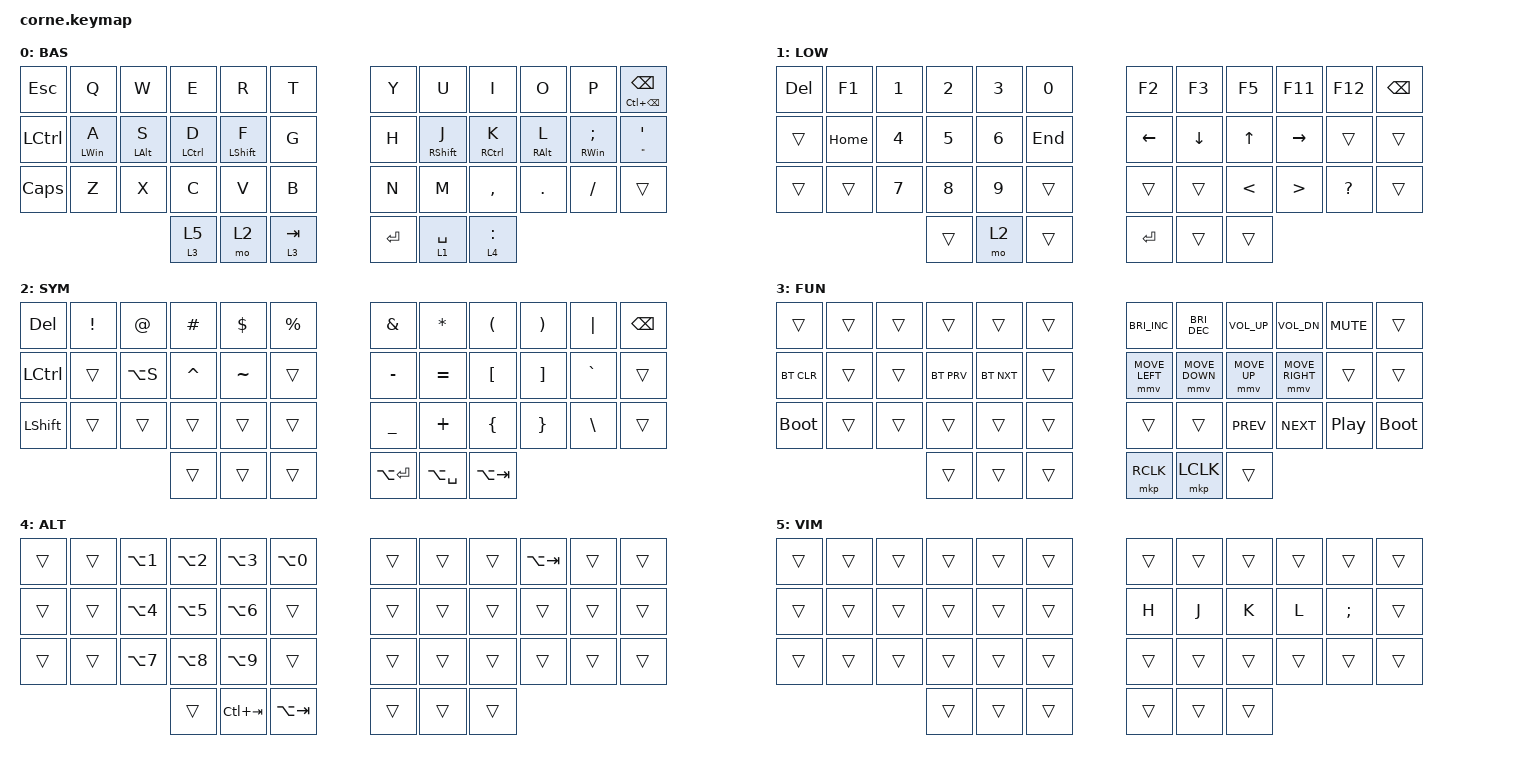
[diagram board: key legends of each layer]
/*
 * Copyright (c) 2020 The ZMK Contributors
 *
 * SPDX-License-Identifier: MIT
 */

#include <dt-bindings/led/led.h>
#include <dt-bindings/zmk/reset.h>
#include <behaviors.dtsi>
#include <dt-bindings/zmk/bt.h>
#include <dt-bindings/zmk/keys.h>
#include <dt-bindings/zmk/pointing.h>

// &led_strip { chain-length = <27>; };

&lt { tapping-term-ms = <150>; };

&mmv {
    trigger-period-ms = <4>;
    time-to-max-speed-ms = <150>;
    acceleration-exponent = <2>;
};

/ {
    behaviors {
        HR_shift_R: HR_shift_R {
            compatible = "zmk,behavior-hold-tap";
            label = "HR_SHIFT_R";
            bindings = <&kp>, <&kp>;

            #binding-cells = <2>;
            tapping-term-ms = <130>;
            hold-trigger-key-positions = <0 1 2 3 4 5 12 13 14 15 16 17 24 25 26 27 28 29 36 37 38>;
            hold-trigger-on-release;
            flavor = "tap-preferred";
        };

        HR_shift_L: HR_shift_L {
            compatible = "zmk,behavior-hold-tap";
            label = "HR_SHIFT_L";
            bindings = <&kp>, <&kp>;

            #binding-cells = <2>;
            tapping-term-ms = <130>;
            hold-trigger-on-release;
            hold-trigger-key-positions = <6 7 8 9 10 11 18 19 20 21 22 23 30 31 32 33 34 35 39 40 41>;
            flavor = "tap-preferred";
        };

        HR_Mod_L: HR_Mod_L {
            compatible = "zmk,behavior-hold-tap";
            label = "HR_MOD_L";
            bindings = <&kp>, <&kp>;

            #binding-cells = <2>;
            flavor = "tap-preferred";
            tapping-term-ms = <230>;
            hold-while-undecided;
            hold-trigger-on-release;
            hold-trigger-key-positions = <6 7 8 9 10 11 18 19 20 21 22 23 30 31 32 33 34 35 39 40 41>;
        };

        HR_Mod_R: HR_Mod_R {
            compatible = "zmk,behavior-hold-tap";
            label = "HR_MOD_R";
            bindings = <&kp>, <&kp>;

            #binding-cells = <2>;
            flavor = "tap-preferred";
            tapping-term-ms = <230>;
            hold-while-undecided;
            hold-trigger-on-release;
            hold-trigger-key-positions = <0 1 2 3 4 5 12 13 14 15 16 17 24 25 26 27 28 29 36 37 38>;
        };

        long_press: long_press {
            compatible = "zmk,behavior-hold-tap";
            label = "LONG_PRESS";
            bindings = <&kp>, <&kp>;

            #binding-cells = <2>;
            tapping-term-ms = <190>;
        };

        long_scroll: long_scroll {
            compatible = "zmk,behavior-hold-tap";
            label = "LONG_SCROLL";
            bindings = <&mmv>, <&msc>;

            #binding-cells = <2>;
            tapping-term-ms = <180>;
        };

        late_tap: late_tap {
            compatible = "zmk,behavior-hold-tap";
            label = "LATE_TAP";
            bindings = <&mo>, <&kp>;

            #binding-cells = <2>;
            flavor = "tap-preferred";
            tapping-term-ms = <220>;
        };

        quick_tap: quick_tap {
            compatible = "zmk,behavior-hold-tap";
            label = "QUICK_TAP";
            bindings = <&mo>, <&kp>;

            #binding-cells = <2>;
            flavor = "balanced";
            tapping-term-ms = <180>;
            hold-trigger-key-positions = <2 3 4 5 14 15 16 26 27 28>;
        };

        mo_toggle: mo_toggle {
            compatible = "zmk,behavior-hold-tap";
            label = "MO_TOGGLE";
            bindings = <&mo>, <&to>;

            #binding-cells = <2>;
            tapping-term-ms = <180>;
        };
    };

    keymap {
        compatible = "zmk,keymap";

        base_layer {
            display-name = "BAS";

            // -----------------------------------------------------------------------------------------
            // |  TAB |  Q  |  W  |  E  |  R  |  T  |   |  Y  |  U   |  I  |  O  |  P  | BKSP |
            // | CTRL |  A  |  S  |  D  |  F  |  G  |   |  H  |  J   |  K  |  L  |  ;  |  '   |
            // | SHFT |  Z  |  X  |  C  |  V  |  B  |   |  N  |  M   |  ,  |  .  |  /  | ESC  |
            //                    | ALT | LWR | SPC |   | ENT | RSE  | BKSP|

            bindings = <
&kp ESCAPE    &kp Q                 &kp W                 &kp E              &kp R                &kp T              &kp Y      &kp U                 &kp I               &kp O                  &kp P                          &long_press LC(BSPC) BACKSPACE
&kp LCTRL     &HR_Mod_L LEFT_WIN A  &HR_Mod_L LEFT_ALT S  &HR_Mod_L LCTRL D  &HR_shift_L LSHFT F  &kp G              &kp H      &HR_shift_R RSHIFT J  &HR_Mod_R RCTRL K   &HR_Mod_R RIGHT_ALT L  &HR_Mod_R RIGHT_WIN SEMICOLON  &long_press DOUBLE_QUOTES SQT
&kp CAPSLOCK  &kp Z                 &kp X                 &kp C              &kp V                &kp B              &kp N      &kp M                 &kp COMMA           &kp DOT                &kp FSLH                       &trans
                                                          &mo_toggle 3 5     &mo 2                &late_tap 3 TAB    &kp ENTER  &late_tap 1 SPACE     &quick_tap 4 COLON
            >;
        };

        number_layer {
            label = "NUM";
            display-name = "LOW";
            bindings = <
&kp DELETE  &kp F1    &kp NUMBER_1  &kp NUMBER_2  &kp NUMBER_3  &kp N0     &kp F2     &kp F3    &kp F5         &kp F11           &kp F12       &kp BSPC
&trans      &kp HOME  &kp N4        &kp N5        &kp N6        &kp END    &kp LEFT   &kp DOWN  &kp UP         &kp RIGHT         &trans        &trans
&trans      &trans    &kp N7        &kp N8        &kp N9        &trans     &trans     &trans    &kp LESS_THAN  &kp GREATER_THAN  &kp QUESTION  &trans
                                    &trans        &mo 2         &trans     &kp ENTER  &trans    &trans
            >;
        };

        symbol_layer {
            label = "SYM";
            display-name = "SYM";
            bindings = <
&kp DELETE  &kp EXCL  &kp AT     &kp HASH   &kp DOLLAR  &kp PRCNT    &kp AMPERSAND  &kp ASTRK      &kp LEFT_PARENTHESIS  &kp RIGHT_PARENTHESIS  &kp PIPE       &kp BSPC
&kp LCTRL   &trans    &kp LA(S)  &kp CARET  &kp TILDE   &trans       &kp MINUS      &kp EQUAL      &kp LBKT              &kp RBKT               &kp GRAVE      &trans
&kp LSHFT   &trans    &trans     &trans     &trans      &trans       &kp UNDER      &kp PLUS       &kp LBRC              &kp RBRC               &kp BACKSLASH  &trans
                                 &trans     &trans      &trans       &kp LA(ENTER)  &kp LA(SPACE)  &kp LA(TAB)
            >;
        };

        function_layer {
            bindings = <
&trans       &trans  &trans  &trans      &trans      &trans    &kp C_BRIGHTNESS_INC  &kp C_BRIGHTNESS_DEC  &kp C_VOLUME_UP  &kp C_VOL_DN     &kp K_MUTE  &trans
&bt BT_CLR   &trans  &trans  &bt BT_PRV  &bt BT_NXT  &trans    &mmv MOVE_LEFT        &mmv MOVE_DOWN        &mmv MOVE_UP     &mmv MOVE_RIGHT  &trans      &trans
&bootloader  &trans  &trans  &trans      &trans      &trans    &trans                &trans                &kp C_PREV       &kp C_NEXT       &kp C_PP    &bootloader
                             &trans      &trans      &trans    &mkp RCLK             &mkp LCLK             &trans
            >;

            label = "FUN";
        };

        alt_layer {
            bindings = <
&trans  &trans  &kp LA(N1)  &kp LA(N2)  &kp LA(N3)   &kp LA(N0)     &trans  &trans  &trans  &kp LA(TAB)  &trans  &trans
&trans  &trans  &kp LA(N4)  &kp LA(N5)  &kp LA(N6)   &trans         &trans  &trans  &trans  &trans       &trans  &trans
&trans  &trans  &kp LA(N7)  &kp LA(N8)  &kp LA(N9)   &trans         &trans  &trans  &trans  &trans       &trans  &trans
                            &trans      &kp LC(TAB)  &kp LA(TAB)    &trans  &trans  &trans
            >;

            label = "ALT";
        };

        vim_layer {
            bindings = <
&trans  &trans  &trans  &trans  &trans  &trans    &trans  &trans  &trans  &trans  &trans         &trans
&trans  &trans  &trans  &trans  &trans  &trans    &kp H   &kp J   &kp K   &kp L   &kp SEMICOLON  &trans
&trans  &trans  &trans  &trans  &trans  &trans    &trans  &trans  &trans  &trans  &trans         &trans
                        &trans  &trans  &trans    &trans  &trans  &trans
            >;

            label = "VIM";
        };
    };
};
